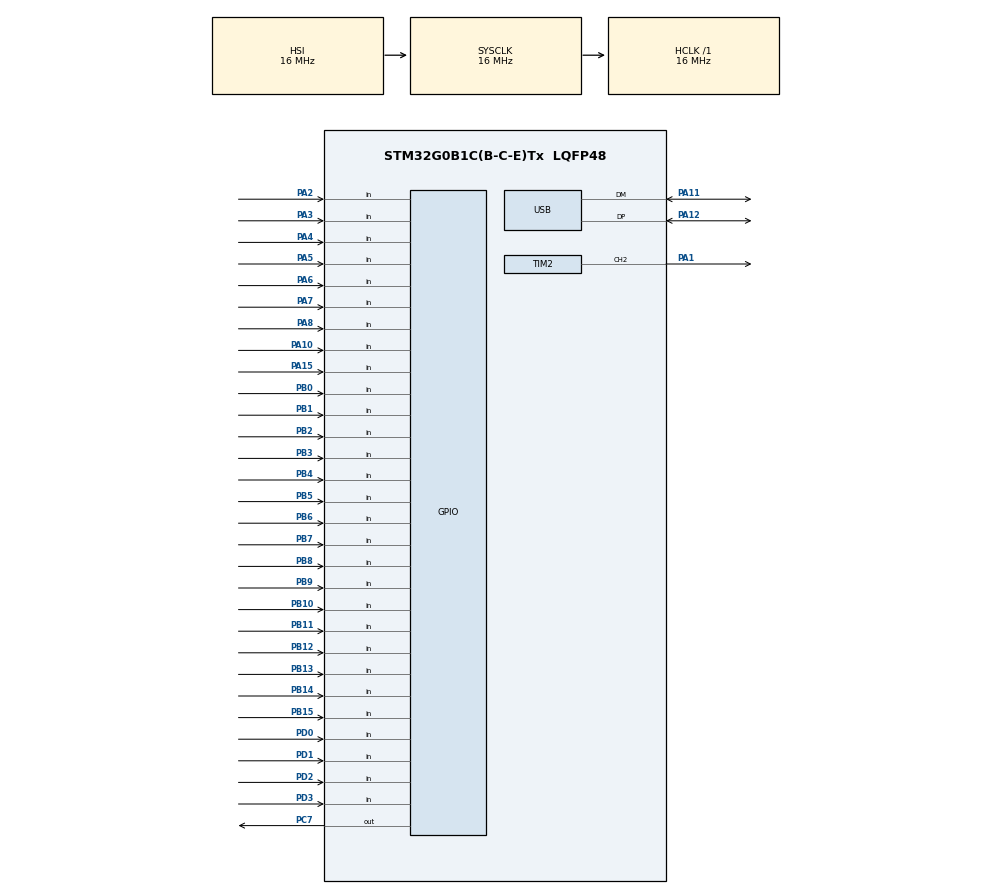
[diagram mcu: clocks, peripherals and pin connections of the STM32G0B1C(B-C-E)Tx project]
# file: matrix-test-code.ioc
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Mcu.Family=STM32G0
Mcu.Name=STM32G0B1C(B-C-E)Tx
Mcu.Package=LQFP48
NVIC.USB_UCPD1_2_IRQn=true\:0\:0\:false\:false\:true\:true\:true\:true
PA1.Signal=S_TIM2_CH2
PA10.GPIO_Mode=GPIO_MODE_INPUT
PA10.GPIO_PuPd=GPIO_PULLUP
PA10.Signal=GPIO_Input
PA11\ [PA9].Mode=Device
PA11\ [PA9].Signal=USB_DM
PA12\ [PA10].Mode=Device
PA12\ [PA10].Signal=USB_DP
PA13.Mode=Serial_Wire
PA13.Signal=SYS_SWDIO
PA14-BOOT0.Mode=Serial_Wire
PA14-BOOT0.Signal=SYS_SWCLK
PA15.GPIO_Mode=GPIO_MODE_INPUT
PA15.GPIO_PuPd=GPIO_PULLUP
PA15.Signal=GPIO_Input
PA2.GPIO_Mode=GPIO_MODE_INPUT
PA2.GPIO_PuPd=GPIO_PULLUP
PA2.Signal=GPIO_Input
PA3.GPIO_Mode=GPIO_MODE_INPUT
PA3.GPIO_PuPd=GPIO_PULLUP
PA3.Signal=GPIO_Input
PA4.GPIO_Mode=GPIO_MODE_INPUT
PA4.GPIO_PuPd=GPIO_PULLUP
PA4.Signal=GPIO_Input
PA5.GPIO_Mode=GPIO_MODE_INPUT
PA5.GPIO_PuPd=GPIO_PULLUP
PA5.Signal=GPIO_Input
PA6.GPIO_Mode=GPIO_MODE_INPUT
PA6.GPIO_PuPd=GPIO_PULLUP
PA6.Signal=GPIO_Input
PA7.GPIO_Mode=GPIO_MODE_INPUT
PA7.GPIO_PuPd=GPIO_PULLUP
PA7.Signal=GPIO_Input
PA8.GPIO_Mode=GPIO_MODE_INPUT
PA8.GPIO_PuPd=GPIO_PULLUP
PA8.Signal=GPIO_Input
PB0.GPIO_Mode=GPIO_MODE_INPUT
PB0.GPIO_PuPd=GPIO_PULLUP
PB0.Signal=GPIO_Input
PB1.GPIO_Mode=GPIO_MODE_INPUT
PB1.GPIO_PuPd=GPIO_PULLUP
PB1.Signal=GPIO_Input
PB10.GPIO_Mode=GPIO_MODE_INPUT
PB10.GPIO_PuPd=GPIO_PULLUP
PB10.Signal=GPIO_Input
PB11.GPIO_Mode=GPIO_MODE_INPUT
PB11.GPIO_PuPd=GPIO_PULLUP
PB11.Signal=GPIO_Input
PB12.GPIO_Mode=GPIO_MODE_INPUT
PB12.GPIO_PuPd=GPIO_PULLUP
PB12.Signal=GPIO_Input
PB13.GPIO_Mode=GPIO_MODE_INPUT
PB13.GPIO_PuPd=GPIO_PULLUP
PB13.Signal=GPIO_Input
PB14.GPIO_Mode=GPIO_MODE_INPUT
PB14.GPIO_PuPd=GPIO_PULLUP
PB14.Signal=GPIO_Input
PB15.GPIO_Mode=GPIO_MODE_INPUT
PB15.GPIO_PuPd=GPIO_PULLUP
PB15.Signal=GPIO_Input
PB2.GPIO_Mode=GPIO_MODE_INPUT
PB2.GPIO_PuPd=GPIO_PULLUP
PB2.Signal=GPIO_Input
PB3.GPIO_Mode=GPIO_MODE_INPUT
PB3.GPIO_PuPd=GPIO_PULLUP
PB3.Signal=GPIO_Input
PB4.GPIO_Mode=GPIO_MODE_INPUT
PB4.GPIO_PuPd=GPIO_PULLUP
PB4.Signal=GPIO_Input
PB5.GPIO_Mode=GPIO_MODE_INPUT
PB5.GPIO_PuPd=GPIO_PULLUP
PB5.Signal=GPIO_Input
PB6.GPIO_Mode=GPIO_MODE_INPUT
PB6.GPIO_PuPd=GPIO_PULLUP
PB6.Signal=GPIO_Input
PB7.GPIO_Mode=GPIO_MODE_INPUT
PB7.GPIO_PuPd=GPIO_PULLUP
PB7.Signal=GPIO_Input
PB8.GPIO_Mode=GPIO_MODE_INPUT
PB8.GPIO_PuPd=GPIO_PULLUP
PB8.Signal=GPIO_Input
PB9.GPIO_Mode=GPIO_MODE_INPUT
PB9.GPIO_PuPd=GPIO_PULLUP
PB9.Signal=GPIO_Input
PC7.GPIO_PuPd=GPIO_PULLDOWN
PC7.Signal=GPIO_Output
PD0.GPIO_Mode=GPIO_MODE_INPUT
PD0.GPIO_PuPd=GPIO_PULLUP
PD0.Signal=GPIO_Input
PD1.GPIO_Mode=GPIO_MODE_INPUT
PD1.GPIO_PuPd=GPIO_PULLUP
PD1.Signal=GPIO_Input
PD2.GPIO_Mode=GPIO_MODE_INPUT
PD2.GPIO_PuPd=GPIO_PULLUP
PD2.Signal=GPIO_Input
PD3.GPIO_Mode=GPIO_MODE_INPUT
PD3.GPIO_PuPd=GPIO_PULLUP
PD3.Signal=GPIO_Input
ProjectManager.HeapSize=0x200
ProjectManager.StackSize=0x400
ProjectManager.TargetToolchain=CMake
RCC.AHBFreq_Value=16000000
RCC.CortexFreq_Value=16000000
RCC.EXTERNAL_CLOCK_VALUE=48000
RCC.HCLKFreq_Value=16000000
RCC.HSE_VALUE=8000000
RCC.HSI48_VALUE=48000000
RCC.HSI_VALUE=16000000
RCC.LSE_VALUE=32768
RCC.SYSCLKFreq_VALUE=16000000
RCC.USBFreq_Value=48000000
RCC.VCOOutputFreq_Value=128000000
SH.S_TIM2_CH2.0=TIM2_CH2,PWM Generation2 CH2
TIM2.AutoReloadPreload=TIM_AUTORELOAD_PRELOAD_ENABLE
TIM2.Channel-PWM\ Generation2\ CH2=TIM_CHANNEL_2
TIM2.Period=999
TIM2.Prescaler=15
USB_DEVICE.CLASS_NAME_FS=HID
USB_DEVICE.USBD_LPM_ENABLED=0
USB_DEVICE.VirtualMode=Hid
USB_DEVICE.VirtualModeFS=Hid_FS
VP_RCC_USB.Mode=CRS SYNC Source USB
VP_SYS_VS_DBSignals.Mode=DisableDeadBatterySignals
VP_USB_DEVICE_VS_USB_DEVICE_HID_FS.Mode=HID_FS
board=custom

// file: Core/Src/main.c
/* USER CODE BEGIN Header */
/**
  ******************************************************************************
  * @file           : main.c
  * @brief          : Main program body
  ******************************************************************************
  * @attention
  *
  * Copyright (c) 2026 STMicroelectronics.
  * All rights reserved.
  *
  * This software is licensed under terms that can be found in the LICENSE file
  * in the root directory of this software component.
  * If no LICENSE file comes with this software, it is provided AS-IS.
  *
  ******************************************************************************
  */
/* USER CODE END Header */
#include "main.h"
#include "usb_device.h"

/* USER CODE BEGIN Includes */
#include "usbd_hid.h"
#include <string.h>
#include <stdbool.h>
/* USER CODE END Includes */

/* USER CODE BEGIN PD */
#define CONSUMER_VOLDOWN  0xF0U
#define CONSUMER_VOLUP    0xF1U
#define CONSUMER_MUTE     0xF2U
/* USER CODE END PD */

TIM_HandleTypeDef htim2;

/* USER CODE BEGIN PV */
extern USBD_HandleTypeDef hUsbDeviceFS;

#define NUM_ROWS 9
#define NUM_COLS 20

typedef struct { GPIO_TypeDef *port; uint16_t pin; } GPIOPin_t;

static const GPIOPin_t row_pins[NUM_ROWS] = {
    {GPIOA, GPIO_PIN_3},   /* R0 */
    {GPIOA, GPIO_PIN_4},   /* R1 */
    {GPIOA, GPIO_PIN_6},   /* R2 */
    {GPIOA, GPIO_PIN_7},   /* R3 */
    {GPIOB, GPIO_PIN_1},   /* R4 */
    {GPIOB, GPIO_PIN_2},   /* R5 */
    {GPIOB, GPIO_PIN_8},   /* R6 */
    {GPIOB, GPIO_PIN_9},   /* R7 */
    {GPIOB, GPIO_PIN_12},  /* R8 */
};

static const GPIOPin_t col_pins[NUM_COLS] = {
    {GPIOA, GPIO_PIN_2},   /* C0  */
    {GPIOA, GPIO_PIN_5},   /* C1  */
    {GPIOA, GPIO_PIN_10},  /* C2  */
    {GPIOA, GPIO_PIN_15},  /* C3  */
    {GPIOB, GPIO_PIN_0},   /* C4  */
    {GPIOB, GPIO_PIN_3},   /* C5  */
    {GPIOB, GPIO_PIN_4},   /* C6  */
    {GPIOB, GPIO_PIN_5},   /* C7  */
    {GPIOB, GPIO_PIN_6},   /* C8  */
    {GPIOB, GPIO_PIN_7},   /* C9  */
    {GPIOB, GPIO_PIN_10},  /* C10 */
    {GPIOB, GPIO_PIN_11},  /* C11 */
    {GPIOD, GPIO_PIN_0},   /* C12 */
    {GPIOD, GPIO_PIN_1},   /* C13 */
    {GPIOD, GPIO_PIN_2},   /* C14 */
    {GPIOD, GPIO_PIN_3},   /* C15 */
    {GPIOA, GPIO_PIN_8},   /* C16 */
    {GPIOB, GPIO_PIN_13},  /* C17 */
    {GPIOB, GPIO_PIN_14},  /* C18 */
    {GPIOB, GPIO_PIN_15},  /* C19 */
};

/*
 * HID keycodes indexed by [row][col].
 * 0x00 = no key assigned
 * 0xE0-0xE7 = modifier keys (LCtrl, LShift, LAlt, LGui, RCtrl, RShift, RAlt, RGui)
 * All other values = standard HID keyboard usage codes
 */
static const uint8_t keycode_map[NUM_ROWS][NUM_COLS] = {
    /* C0    C1    C2    C3    C4    C5    C6    C7    C8    C9    C10   C11   C12   C13   C14   C15   C16   C17   C18   C19 */
    /* R0 PA3  */ { 0x00, 0x00, 0x4F, 0x00, 0x00, 0x31, 0x08, 0x00, 0x3B, 0x2D, 0x00, 0x0B, 0x00, 0x40, 0x00, 0x0A, 0x00, 0x00, 0x00, 0x00 },
    /* R1 PA4  */ { 0x00, 0x00, 0x4C, 0x2E, 0x00, 0x43, 0x39, 0x35, 0x16, 0x27, 0x00, 0x23, 0x00, 0x3E, 0x00, 0x22, 0x00, 0x00, 0x00, 0x00 },
    /* R2 PA6  */ { 0x00, 0x00, 0x00, 0x2A, 0x00, 0x26, 0x20, 0x1E, 0x1F, 0x13, 0x00, 0x24, 0x00, 0x25, 0x00, 0x21, 0x00, 0x00, 0x00, 0x00 },
    /* R3 PA7  */ { 0x00, 0x00, 0x00, 0x30, 0x00, 0x44, 0x3C, 0x00, 0x1A, 0x2F, 0x00, 0x18, 0x00, 0x0C, 0x50, 0x15, 0x00, 0x00, 0x00, 0x00 },
    /* R4 PB1  */ { 0x00, 0x00, 0x00, 0x07, 0x00, 0x0F, 0x00, 0x04, 0x29, 0x33, 0x00, 0x0D, 0x00, 0x0E, 0x00, 0x09, 0x00, 0x00, 0x00, 0x00 },
    /* R5 PB2  */ { 0x00, 0xE2, 0x41, 0x28, 0xE1, 0x51, 0x2C, 0x00, 0x1D, 0x52, 0x00, 0x11, 0xE0, 0x00, 0x00, 0x05, 0x00, 0x00, 0x00, 0x00 },
    /* R6 PB8  */ { 0x00, 0xE6, 0x00, 0x34, 0xE5, 0x37, 0x00, 0x14, 0x1B, 0x38, 0x06, 0x10, 0xE4, 0x36, 0x00, 0x19, 0x00, 0x00, 0x00, 0x00 },
    /* R7 PB9  */ { 0xE3, 0x00, 0x00, 0x00, 0x00, 0x12, 0x3D, 0x2B, 0x3A, 0x45, 0x00, 0x1C, 0x00, 0x3F, 0x42, 0x17, 0x00, 0x00, 0x00, 0x00 },
    /* R8 PB12 */{ 0x00, 0x00, 0x00, 0x00, 0x00, 0x00, 0x00, 0x00, 0x00, 0x00, 0x00, 0x00, 0x00, 0x00, 0x00, 0x00, CONSUMER_VOLDOWN, 0x00, CONSUMER_MUTE, CONSUMER_VOLUP },
};

static uint8_t curr_state[NUM_ROWS][NUM_COLS];
static uint8_t prev_state[NUM_ROWS][NUM_COLS];

/* 0xF0-0xF2 are internal markers for consumer keys, looked up in consumer_usage[]. */
static const uint16_t consumer_usage[] = {
    0x00EA,  /* 0xF0: Volume Decrement */
    0x00E9,  /* 0xF1: Volume Increment */
    0x00E2,  /* 0xF2: Mute            */
};

typedef struct {
    uint8_t report_id;  /* Always 1 */
    uint8_t modifiers;
    uint8_t reserved;
    uint8_t keycodes[6];
} KeyboardReport_t;

typedef struct {
    uint8_t  report_id;  /* Always 2 */
    uint16_t usage;      /* Consumer usage code; 0 = no key */
} __attribute__((packed)) ConsumerReport_t;

static const uint32_t brightness_levels[4] = {0, 333, 666, 1000};
static int brightness_idx = 2; /* start at medium brightness */

static uint32_t rog_press_tick = 0;
static bool     rog_armed      = false;
/* USER CODE END PV */

void SystemClock_Config(void);
static void MX_GPIO_Init(void);
static void MX_TIM2_Init(void);

/* USER CODE BEGIN 0 */

/*
 * Return true if any three pressed keys form three corners of a row/column
 * rectangle, which means a ghost key may appear at the fourth corner.
 */
static bool has_ghost(void)
{
    for (int r1 = 0; r1 < NUM_ROWS; r1++) {
        for (int c1 = 0; c1 < NUM_COLS; c1++) {
            if (!curr_state[r1][c1]) continue;
            for (int c2 = c1 + 1; c2 < NUM_COLS; c2++) {
                if (!curr_state[r1][c2]) continue;
                /* Two keys share row r1 at c1 and c2.  If any other row has
                 * a key in c1 or c2, we have three corners of a rectangle. */
                for (int r2 = 0; r2 < NUM_ROWS; r2++) {
                    if (r2 == r1) continue;
                    if (curr_state[r2][c1] || curr_state[r2][c2])
                        return true;
                }
            }
        }
    }
    return false;
}

static void enter_bootloader(void)
{
    HAL_TIM_PWM_Stop(&htim2, TIM_CHANNEL_2);
    USBD_Stop(&hUsbDeviceFS);
    USBD_DeInit(&hUsbDeviceFS);
    HAL_RCC_DeInit();
    HAL_DeInit();

    SysTick->CTRL = 0U;
    SysTick->LOAD = 0U;
    SysTick->VAL  = 0U;

    __disable_irq();
    for (int i = 0; i < (int)(sizeof(NVIC->ICER) / sizeof(NVIC->ICER[0])); i++) {
        NVIC->ICER[i] = 0xFFFFFFFFU;
        NVIC->ICPR[i] = 0xFFFFFFFFU;
    }

    /* STM32G0B1 system bootloader base address */
    const uint32_t boot_base = 0x1FFF0000U;
    typedef void (*BootJump_t)(void);
    BootJump_t boot_jump = (BootJump_t)(*(uint32_t *)(boot_base + 4U));
    __set_MSP(*(uint32_t *)boot_base);
    boot_jump();
}

/* Drive each row low in turn and read all column pins. */
static void scan_matrix(void)
{
    GPIO_InitTypeDef init = {0};
    for (int r = 0; r < NUM_ROWS; r++) {
        init.Pin   = row_pins[r].pin;
        init.Mode  = GPIO_MODE_OUTPUT_PP;
        init.Pull  = GPIO_NOPULL;
        init.Speed = GPIO_SPEED_FREQ_LOW;
        HAL_GPIO_Init(row_pins[r].port, &init);
        HAL_GPIO_WritePin(row_pins[r].port, row_pins[r].pin, GPIO_PIN_RESET);

        HAL_Delay(1); /* settle */

        for (int c = 0; c < NUM_COLS; c++) {
            curr_state[r][c] =
                (HAL_GPIO_ReadPin(col_pins[c].port, col_pins[c].pin) == GPIO_PIN_RESET) ? 1U : 0U;
        }

        init.Mode = GPIO_MODE_INPUT;
        init.Pull = GPIO_PULLUP;
        HAL_GPIO_Init(row_pins[r].port, &init);
    }
}

/* Build and send keyboard + consumer HID reports from the current key state. */
static void send_hid_report(void)
{
    KeyboardReport_t kb = {0};
    kb.report_id = 1U;

    ConsumerReport_t consumer = {0};
    consumer.report_id = 2U;

    if (!has_ghost()) {
        int key_count = 0;
        for (int r = 0; r < NUM_ROWS; r++) {
            for (int c = 0; c < NUM_COLS; c++) {
                if (!curr_state[r][c]) continue;
                uint8_t kc = keycode_map[r][c];
                if (kc == 0x00) continue;
                if (kc >= 0xF0U) {
                    consumer.usage = consumer_usage[kc - 0xF0U];
                } else if (kc >= 0xE0U) {
                    kb.modifiers |= (uint8_t)(1u << (kc - 0xE0U));
                } else if (key_count < 6) {
                    kb.keycodes[key_count++] = kc;
                }
            }
        }
    }

    USBD_HID_HandleTypeDef *hhid =
        (USBD_HID_HandleTypeDef *)hUsbDeviceFS.pClassDataCmsit[hUsbDeviceFS.classId];

    uint32_t t = HAL_GetTick();
    while (hhid && hhid->state == USBD_HID_BUSY && (HAL_GetTick() - t) < 10U) {}
    USBD_HID_SendReport(&hUsbDeviceFS, (uint8_t *)&kb, sizeof(kb));

    t = HAL_GetTick();
    while (hhid && hhid->state == USBD_HID_BUSY && (HAL_GetTick() - t) < 10U) {}
    USBD_HID_SendReport(&hUsbDeviceFS, (uint8_t *)&consumer, sizeof(consumer));
}
/* USER CODE END 0 */

int main(void)
{

  /* MCU Configuration--------------------------------------------------------*/

  /* Reset of all peripherals, Initializes the Flash interface and the Systick. */
  HAL_Init();

  /* Configure the system clock */
  SystemClock_Config();

  /* Initialize all configured peripherals */
  MX_GPIO_Init();
  MX_USB_Device_Init();
  MX_TIM2_Init();
  /* USER CODE BEGIN 2 */
  HAL_TIM_PWM_Start(&htim2, TIM_CHANNEL_2);
  __HAL_TIM_SET_COMPARE(&htim2, TIM_CHANNEL_2, brightness_levels[brightness_idx]);

  while (hUsbDeviceFS.dev_state != USBD_STATE_CONFIGURED) { HAL_Delay(10); }
  HAL_Delay(500);

  scan_matrix();
  memcpy(prev_state, curr_state, sizeof(curr_state));

  /* Send empty report so host starts in a clean state */
  KeyboardReport_t empty = {0};
  USBD_HID_SendReport(&hUsbDeviceFS, (uint8_t *)&empty, sizeof(empty));
  /* USER CODE END 2 */

  /* Infinite loop */
  while (1)
  {

    /* USER CODE BEGIN 3 */
    scan_matrix();

    /* Drive PC7 (caps lock LED via MOSFET) from bit 1 of the host LED report */
    {
        USBD_HID_HandleTypeDef *hhid =
            (USBD_HID_HandleTypeDef *)hUsbDeviceFS.pClassDataCmsit[hUsbDeviceFS.classId];
        HAL_GPIO_WritePin(GPIOC, GPIO_PIN_7,
            (hhid != NULL && (hhid->led_report[1] & 0x02U)) ? GPIO_PIN_SET : GPIO_PIN_RESET);
    }

    /* ROG key (R8 C17): short press cycles brightness; hold 5s enters bootloader */
    if (curr_state[8][17] && !prev_state[8][17]) {
        rog_press_tick = HAL_GetTick();
        rog_armed = true;
    }
    if (!curr_state[8][17] && prev_state[8][17] && rog_armed) {
        brightness_idx = (brightness_idx + 1) % 4;
        __HAL_TIM_SET_COMPARE(&htim2, TIM_CHANNEL_2, brightness_levels[brightness_idx]);
        rog_armed = false;
    }
    if (rog_armed && curr_state[8][17] && (HAL_GetTick() - rog_press_tick) >= 5000U) {
        enter_bootloader();
    }

    if (memcmp(curr_state, prev_state, sizeof(curr_state)) != 0) {
        send_hid_report();
        memcpy(prev_state, curr_state, sizeof(curr_state));
    }
  }
  /* USER CODE END 3 */
}

void SystemClock_Config(void)
{
  RCC_OscInitTypeDef RCC_OscInitStruct = {0};
  RCC_ClkInitTypeDef RCC_ClkInitStruct = {0};
  RCC_CRSInitTypeDef pInit = {0};

  /** Configure the main internal regulator output voltage
  */
  HAL_PWREx_ControlVoltageScaling(PWR_REGULATOR_VOLTAGE_SCALE1);

  /** Initializes the RCC Oscillators according to the specified parameters
  * in the RCC_OscInitTypeDef structure.
  */
  RCC_OscInitStruct.OscillatorType = RCC_OSCILLATORTYPE_HSI|RCC_OSCILLATORTYPE_HSI48;
  RCC_OscInitStruct.HSIState = RCC_HSI_ON;
  RCC_OscInitStruct.HSI48State = RCC_HSI48_ON;
  RCC_OscInitStruct.HSIDiv = RCC_HSI_DIV1;
  RCC_OscInitStruct.HSICalibrationValue = RCC_HSICALIBRATION_DEFAULT;
  RCC_OscInitStruct.PLL.PLLState = RCC_PLL_NONE;
  if (HAL_RCC_OscConfig(&RCC_OscInitStruct) != HAL_OK)
  {
    Error_Handler();
  }

  /** Initializes the CPU, AHB and APB buses clocks
  */
  RCC_ClkInitStruct.ClockType = RCC_CLOCKTYPE_HCLK|RCC_CLOCKTYPE_SYSCLK
                              |RCC_CLOCKTYPE_PCLK1;
  RCC_ClkInitStruct.SYSCLKSource = RCC_SYSCLKSOURCE_HSI;
  RCC_ClkInitStruct.AHBCLKDivider = RCC_SYSCLK_DIV1;
  RCC_ClkInitStruct.APB1CLKDivider = RCC_HCLK_DIV1;

  if (HAL_RCC_ClockConfig(&RCC_ClkInitStruct, FLASH_LATENCY_0) != HAL_OK)
  {
    Error_Handler();
  }

  /** Enable the SYSCFG APB clock
  */
  __HAL_RCC_CRS_CLK_ENABLE();

  /** Configures CRS
  */
  pInit.Prescaler = RCC_CRS_SYNC_DIV1;
  pInit.Source = RCC_CRS_SYNC_SOURCE_USB;
  pInit.Polarity = RCC_CRS_SYNC_POLARITY_RISING;
  pInit.ReloadValue = __HAL_RCC_CRS_RELOADVALUE_CALCULATE(48000000,1000);
  pInit.ErrorLimitValue = 34;
  pInit.HSI48CalibrationValue = 32;

  HAL_RCCEx_CRSConfig(&pInit);
}

static void MX_TIM2_Init(void)
{

  TIM_MasterConfigTypeDef sMasterConfig = {0};
  TIM_OC_InitTypeDef sConfigOC = {0};

  htim2.Instance = TIM2;
  htim2.Init.Prescaler = 15;
  htim2.Init.CounterMode = TIM_COUNTERMODE_UP;
  htim2.Init.Period = 999;
  htim2.Init.ClockDivision = TIM_CLOCKDIVISION_DIV1;
  htim2.Init.AutoReloadPreload = TIM_AUTORELOAD_PRELOAD_ENABLE;
  if (HAL_TIM_PWM_Init(&htim2) != HAL_OK)
  {
    Error_Handler();
  }
  sMasterConfig.MasterOutputTrigger = TIM_TRGO_RESET;
  sMasterConfig.MasterSlaveMode = TIM_MASTERSLAVEMODE_DISABLE;
  if (HAL_TIMEx_MasterConfigSynchronization(&htim2, &sMasterConfig) != HAL_OK)
  {
    Error_Handler();
  }
  sConfigOC.OCMode = TIM_OCMODE_PWM1;
  sConfigOC.Pulse = 0;
  sConfigOC.OCPolarity = TIM_OCPOLARITY_HIGH;
  sConfigOC.OCFastMode = TIM_OCFAST_DISABLE;
  if (HAL_TIM_PWM_ConfigChannel(&htim2, &sConfigOC, TIM_CHANNEL_2) != HAL_OK)
  {
    Error_Handler();
  }
  HAL_TIM_MspPostInit(&htim2);

}

static void MX_GPIO_Init(void)
{
  GPIO_InitTypeDef GPIO_InitStruct = {0};

  /* GPIO Ports Clock Enable */
  __HAL_RCC_GPIOA_CLK_ENABLE();
  __HAL_RCC_GPIOB_CLK_ENABLE();
  __HAL_RCC_GPIOC_CLK_ENABLE();
  __HAL_RCC_GPIOD_CLK_ENABLE();

  /*Configure GPIO pin Output Level */
  HAL_GPIO_WritePin(GPIOC, GPIO_PIN_7, GPIO_PIN_RESET);

  /*Configure GPIO pins : PA2 PA3 PA4 PA5
                           PA6 PA7 PA8 PA10
                           PA15 */
  GPIO_InitStruct.Pin = GPIO_PIN_2|GPIO_PIN_3|GPIO_PIN_4|GPIO_PIN_5
                          |GPIO_PIN_6|GPIO_PIN_7|GPIO_PIN_8|GPIO_PIN_10
                          |GPIO_PIN_15;
  GPIO_InitStruct.Mode = GPIO_MODE_INPUT;
  GPIO_InitStruct.Pull = GPIO_PULLUP;
  HAL_GPIO_Init(GPIOA, &GPIO_InitStruct);

  /*Configure GPIO pins : PB0 PB1 PB2 PB10
                           PB11 PB12 PB13 PB14
                           PB15 PB3 PB4 PB5
                           PB6 PB7 PB8 PB9 */
  GPIO_InitStruct.Pin = GPIO_PIN_0|GPIO_PIN_1|GPIO_PIN_2|GPIO_PIN_10
                          |GPIO_PIN_11|GPIO_PIN_12|GPIO_PIN_13|GPIO_PIN_14
                          |GPIO_PIN_15|GPIO_PIN_3|GPIO_PIN_4|GPIO_PIN_5
                          |GPIO_PIN_6|GPIO_PIN_7|GPIO_PIN_8|GPIO_PIN_9;
  GPIO_InitStruct.Mode = GPIO_MODE_INPUT;
  GPIO_InitStruct.Pull = GPIO_PULLUP;
  HAL_GPIO_Init(GPIOB, &GPIO_InitStruct);

  /*Configure GPIO pin : PC7 */
  GPIO_InitStruct.Pin = GPIO_PIN_7;
  GPIO_InitStruct.Mode = GPIO_MODE_OUTPUT_PP;
  GPIO_InitStruct.Pull = GPIO_PULLDOWN;
  GPIO_InitStruct.Speed = GPIO_SPEED_FREQ_LOW;
  HAL_GPIO_Init(GPIOC, &GPIO_InitStruct);

  /*Configure GPIO pins : PD0 PD1 PD2 PD3 */
  GPIO_InitStruct.Pin = GPIO_PIN_0|GPIO_PIN_1|GPIO_PIN_2|GPIO_PIN_3;
  GPIO_InitStruct.Mode = GPIO_MODE_INPUT;
  GPIO_InitStruct.Pull = GPIO_PULLUP;
  HAL_GPIO_Init(GPIOD, &GPIO_InitStruct);

}

void Error_Handler(void)
{
  __disable_irq();
  while (1)
  {
  }
}
